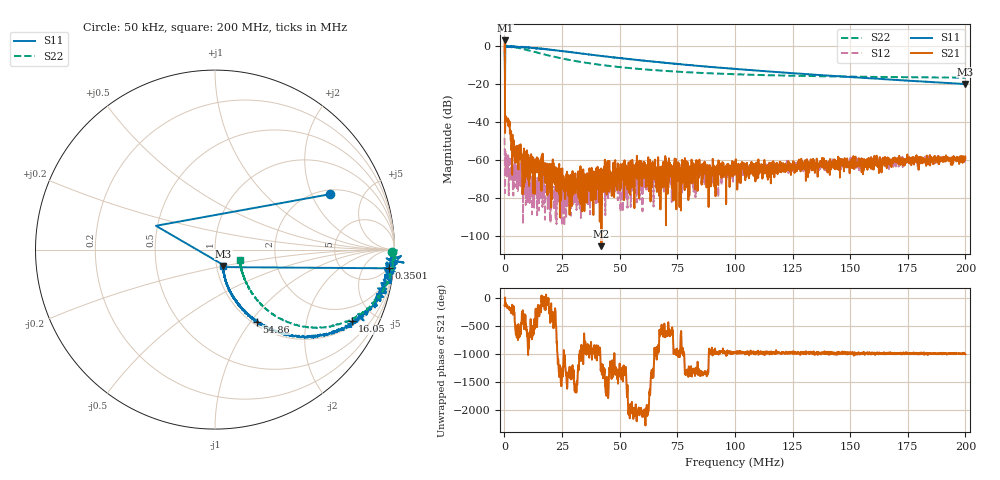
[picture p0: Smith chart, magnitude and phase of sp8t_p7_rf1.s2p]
! 26-Feb-26 12:59:12 PM
! E:\VNA_MEASUREMENTS\SP8T\SP8T_P7_RF1.S2P
! CHANNEL.1
! TR.MEASUREMENT
! CORRECTED.DATA
# GHZ S RI R 50.0
! FREQ.GHZ  S11RE  S11IM  S21RE  S21IM  S12RE  S12IM  S22RE  S22IM
!; PortSelection: Port_12
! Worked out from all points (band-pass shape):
!   2000 points, 50 kHz to 200 MHz, reference 50 ohm
!   highest |S21| = 3.16 dB at 150 kHz (marker M1); lowest = -105.1 dB at 42.06 MHz (marker M2)
!   |S21| within 3 dB of the highest: 97.39 kHz to 156.2 kHz (58.79 kHz wide, 46.4 % of centre)
!   lowest |S11| = -19.8 dB at 199.9 MHz (marker M3), VSWR 1.23, Z = 54 - j9.92 ohm
!   |S11| at or under -10 dB: 160.5 kHz to 296.6 kHz (136.1 kHz wide, 59.5 % of centre); 81.82694 MHz to 82.04337 MHz (216.4 kHz wide, 0.264 % of centre); 82.12 MHz to end of sweep
!   |S22| runs from -16.5 to 0.1 dB; largest |S21 - S12| = 1.4
!   S11 on the Smith chart (normalised r, x): 50 kHz: 2.20, +2.75; 350.1 kHz: 4, -18; 16.05 MHz: 1.18, -3.72; 54.86 MHz: 1.05, -1.07; 200 MHz: 1.08, -0.20
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5e-05  0.6405 0.3086  -0.5681 -0.4834  -0.00305 -0.00243  0.9838 -0.0122
0.000150025  -0.329 0.1325  -1.305 -0.6047  -0.000955 -0.000429  1.013 -0.00355
0.000350075  0.9704 -0.1043  -0.00481 -0.0114  -0.000281 -0.00175  0.9913 -0.0326
0.0012503  0.9824 -0.0585  -0.0112 -0.00527  -0.000629 -0.000984  0.9943 -0.0861
0.003950975  0.9878 -0.1125  -0.00118 -0.000648  0.000353 -0.000242  0.9299 -0.2378
0.008652151  0.9221 -0.2609  0.00124 -0.000359  -7.76e-05 0.000381  0.7386 -0.3996
0.016054  0.7652 -0.3999  0.000122 9.93e-05  0.000109 0.000186  0.4826 -0.4267
0.0196549  0.6962 -0.4493  -0.00017 -4.65e-05  -3.06e-05 5.44e-05  0.4028 -0.4027
0.03345835  0.4386 -0.4793  -0.000296 -0.000225  -0.000117 2.03e-05  0.2494 -0.2975
0.0420605  0.3343 -0.4529  -1.6e-06 -5.3e-06  4.26e-05 0.000178  0.2098 -0.2486
0.05486371  0.2338 -0.4009  2.52e-05 0.000565  -0.000163 3.75e-05  0.1813 -0.1974
0.06676668  0.1702 -0.348  -0.000116 0.000718  -4.7e-05 0.000371  0.1655 -0.1655
0.07136783  0.1512 -0.3318  0.0004 0.00106  -0.00021 0.000296  0.161 -0.1548
0.07556888  0.1379 -0.3148  0.000299 0.000389  -3.97e-05 0.000417  0.1586 -0.1473
0.07806951  0.1303 -0.3039  0.000949 -0.000191  -0.000217 0.000249  0.1567 -0.1426
0.08077018  0.1255 -0.2983  -4.39e-05 0.000287  -0.000192 0.000431  0.1552 -0.139
0.08387096  0.1154 -0.2848  -3.6e-06 -0.00034  -6.86e-05 0.000336  0.153 -0.1331
0.100075  0.0877 -0.2412  -0.000227 0.000489  1.4e-05 0.00052  0.1473 -0.1126
0.1333833  0.0589 -0.1723  0.000112 0.00058  0.000107 0.000814  0.1421 -0.0857
0.1666917  0.0488 -0.1261  -0.000129 0.000784  4.57e-05 0.000864  0.1405 -0.0697
0.1999  0.0467 -0.0909  0.000329 0.00125  0.000348 0.00106  0.1386 -0.0576
0.2  0.0468 -0.0911  0.000382 0.00107  0.000291 0.00108  0.1392 -0.0582
